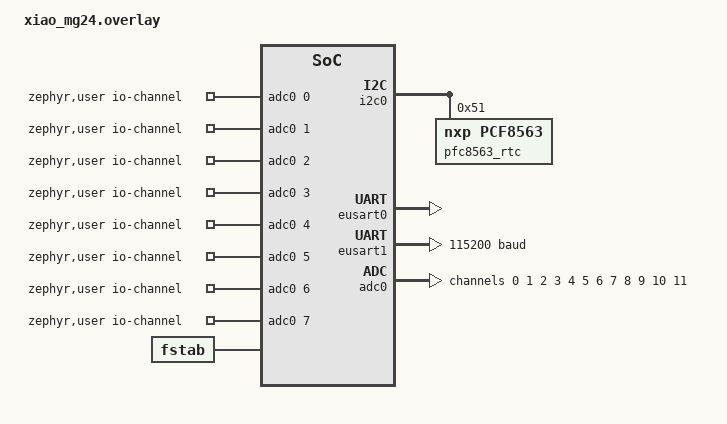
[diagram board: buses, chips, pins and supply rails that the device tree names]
#include <dt-bindings/adc/silabs-adc.h>

/ {
    zephyr,user {
        io-channels = <&adc0 0>, <&adc0 1>, <&adc0 2>, <&adc0 3>, <&adc0 4>, <&adc0 5>, <&adc0 6>, <&adc0 7>, <&adc0 8>, <&adc0 9>, <&adc0 10>, <&adc0 11>;
    };
};

/ {
	chosen {
		zephyr,rtc = &pfc8563_rtc;
	};
    
	aliases {
		rtc = &pfc8563_rtc;
	};
};

/ {
	fstab {
		compatible = "zephyr,fstab";
		lfs1: lfs1 {
			compatible = "zephyr,fstab,littlefs";
			mount-point = "/flash";
			partition = <&storage_partition>;
			automount;
			read-size = <32>;
			prog-size = <32>;
			cache-size = <256>;
			lookahead-size = <32>;
			block-cycles = <1024>;
		};
	};
};

&pinctrl {
	eusart0_default: eusart0_default {
		group0 {
			pins = <EUSART0_TX_PA5>, <EUSART0_SCLK_PA3>;
			drive-push-pull;
			output-high;
		};

		group1 {
			pins = <EUSART0_RX_PA4>;
			input-enable;
			silabs,input-filter;
		};
	};

	eusart1_default: eusart1_default {
		group0 {
			pins = <EUSART1_TX_PC6>;
			drive-push-pull;
			output-high;
		};

		group1 {
			pins = <EUSART1_RX_PC7>;
			input-enable;
			silabs,input-filter;
		};
	};

	i2c0_default: i2c0_default {
		group0 {
			pins = <I2C0_SCL_PC5>, <I2C0_SDA_PC4>;
			drive-open-drain;
			bias-pull-up;
		};
	};

	timer0_default: timer0_default {
		group0 {
			pins = <TIMER0_CC0_PC0>;
			drive-push-pull;
			output-high;
		};
		group1 {
			pins = <TIMER0_CC1_PC1>;
			drive-push-pull;
			output-high;
		};
		group2 {
			pins = <TIMER0_CC2_PC2>;
			drive-push-pull;
			output-high;
		};
	};

	adc0_default: adc0_default {
		group0 {
			silabs,analog-bus = <ABUS_CDEVEN0_IADC0>, <ABUS_CDODD1_IADC0>, <ABUS_AEVEN0_IADC0>, <ABUS_AODD1_IADC0>;
		};
	};
};

&i2c0 {
	status = "okay";

	pfc8563_rtc: pfc8563@51 {
		compatible = "nxp,pcf8563";
		reg = <0x51>;
		status = "okay";
	};
};

&eusart0 {
	status = "okay";
	compatible = "silabs,eusart-spi";
	#address-cells = <1>;
	#size-cells = <0>;
	clock-frequency = <4000000>;
	cs-gpios = <&gpioc 1 GPIO_ACTIVE_LOW>;
	pinctrl-0 = <&eusart0_default>;
	pinctrl-names = "default";
	
	/delete-property/ current-speed;
};

&eusart1 {
	status = "okay";
	compatible = "silabs,eusart-uart";
	current-speed = <115200>;
	pinctrl-0 = <&eusart1_default>;
	pinctrl-names = "default";

	/delete-property/ #address-cells;
	/delete-property/ #size-cells;
	/delete-property/ clock-frequency;
	/delete-property/ cs-gpios;
};

&adc0 {
	pinctrl-0 = <&adc0_default>;
	pinctrl-names = "default";
	#address-cells = <1>;
	#size-cells = <0>;
	status = "okay";

	channel@0 {
		reg = <0>;
		zephyr,gain = "ADC_GAIN_1";
		zephyr,reference = "ADC_REF_VDD_1";
		zephyr,vref-mv = <3300>;
		zephyr,acquisition-time = <ADC_ACQ_TIME_DEFAULT>;
		zephyr,resolution = <12>;
		zephyr,input-positive = <IADC_INPUT_PC0>;
	};

	channel@1 {
		reg = <1>;
		zephyr,gain = "ADC_GAIN_1";
		zephyr,reference = "ADC_REF_VDD_1";
		zephyr,vref-mv = <3300>;
		zephyr,acquisition-time = <ADC_ACQ_TIME_DEFAULT>;
		zephyr,resolution = <12>;
		zephyr,input-positive = <IADC_INPUT_PC1>;
	};

	channel@2 {
		reg = <2>;
		zephyr,gain = "ADC_GAIN_1";
		zephyr,reference = "ADC_REF_VDD_1";
		zephyr,vref-mv = <3300>;
		zephyr,acquisition-time = <ADC_ACQ_TIME_DEFAULT>;
		zephyr,resolution = <12>;
		zephyr,input-positive = <IADC_INPUT_PC2>;
	};

	channel@3 {
		reg = <3>;
		zephyr,gain = "ADC_GAIN_1";
		zephyr,reference = "ADC_REF_VDD_1";
		zephyr,vref-mv = <3300>;
		zephyr,acquisition-time = <ADC_ACQ_TIME_DEFAULT>;
		zephyr,resolution = <12>;
		zephyr,input-positive = <IADC_INPUT_PC3>;
	};

	channel@4 {
		reg = <4>;
		zephyr,gain = "ADC_GAIN_1";
		zephyr,reference = "ADC_REF_VDD_1";
		zephyr,vref-mv = <3300>;
		zephyr,acquisition-time = <ADC_ACQ_TIME_DEFAULT>;
		zephyr,resolution = <12>;
		zephyr,input-positive = <IADC_INPUT_PC4>;
	};

	channel@5 {
		reg = <5>;
		zephyr,gain = "ADC_GAIN_1";
		zephyr,reference = "ADC_REF_VDD_1";
		zephyr,vref-mv = <3300>;
		zephyr,acquisition-time = <ADC_ACQ_TIME_DEFAULT>;
		zephyr,resolution = <12>;
		zephyr,input-positive = <IADC_INPUT_PC5>;
	};

	channel@6 {
		reg = <6>;
		zephyr,gain = "ADC_GAIN_1";
		zephyr,reference = "ADC_REF_VDD_1";
		zephyr,vref-mv = <3300>;
		zephyr,acquisition-time = <ADC_ACQ_TIME_DEFAULT>;
		zephyr,resolution = <12>;
		zephyr,input-positive = <IADC_INPUT_PC6>;
	};

	channel@7 {	
		reg = <7>;
		zephyr,gain = "ADC_GAIN_1";
		zephyr,reference = "ADC_REF_VDD_1";
		zephyr,vref-mv = <3300>;
		zephyr,acquisition-time = <ADC_ACQ_TIME_DEFAULT>;
		zephyr,resolution = <12>;
		zephyr,input-positive = <IADC_INPUT_PC7>;
	};

	channel@8 {	
		reg = <8>;
		zephyr,gain = "ADC_GAIN_1";
		zephyr,reference = "ADC_REF_VDD_1";
		zephyr,vref-mv = <3300>;
		zephyr,acquisition-time = <ADC_ACQ_TIME_DEFAULT>;
		zephyr,resolution = <12>;
		zephyr,input-positive = <IADC_INPUT_PA3>;
	};

	channel@9 {	
		reg = <9>;
		zephyr,gain = "ADC_GAIN_1";
		zephyr,reference = "ADC_REF_VDD_1";
		zephyr,vref-mv = <3300>;
		zephyr,acquisition-time = <ADC_ACQ_TIME_DEFAULT>;
		zephyr,resolution = <12>;
		zephyr,input-positive = <IADC_INPUT_PA4>;
	};

	channel@10 {	
		reg = <10>;
		zephyr,gain = "ADC_GAIN_1";
		zephyr,reference = "ADC_REF_VDD_1";
		zephyr,vref-mv = <3300>;
		zephyr,acquisition-time = <ADC_ACQ_TIME_DEFAULT>;
		zephyr,resolution = <12>;
		zephyr,input-positive = <IADC_INPUT_PA5>;
	};

	channel@11 {	
		reg = <11>;
		zephyr,gain = "ADC_GAIN_1";
		zephyr,reference = "ADC_REF_VDD_1";
		zephyr,vref-mv = <3300>;
		zephyr,acquisition-time = <ADC_ACQ_TIME_DEFAULT>;
		zephyr,resolution = <12>;
		zephyr,input-positive = <IADC_INPUT_PD4>;
	};
};

/* Reserve 608 kB for the application in slot 1 */
&slot1_partition {
	reg = <0x000C4000 0x00098000>;
	label = "image-1";
};

/* Set 128 kB of storage at the end of the 1536 kB of flash */
&storage_partition {
	reg = <0x0015c000 DT_SIZE_K(128)>;
	label = "storage";
};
